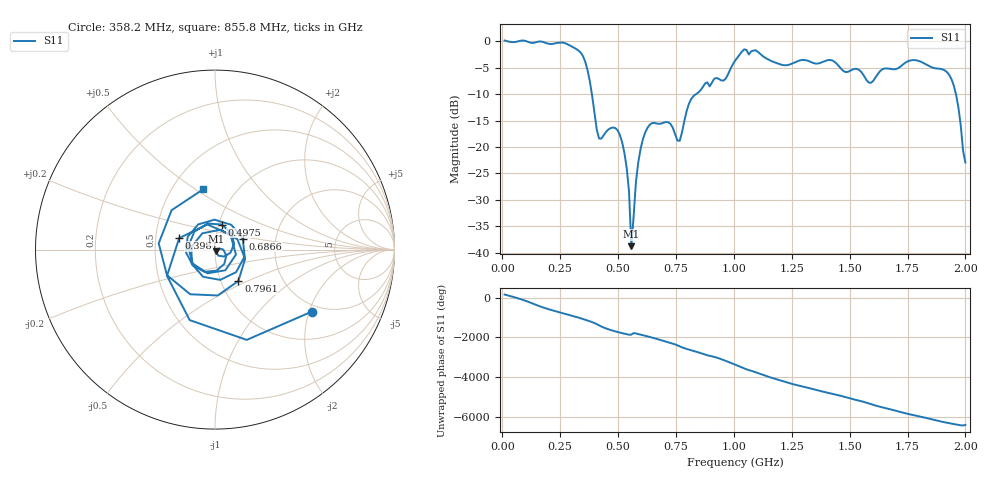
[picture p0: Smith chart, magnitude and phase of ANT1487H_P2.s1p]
!Created with skrf (http://scikit-rf.org).
# Hz S RI R 50.0
!freq ReS11 ImS11
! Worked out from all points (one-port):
!   201 points, 10 MHz to 2 GHz, reference 50 ohm
!   lowest |S11| = -38.8 dB at 557.2 MHz (marker M1), VSWR 1.02, Z = 50.6 - j0.975 ohm
!   |S11| at or under -10 dB: 386.9 MHz to 836.5 MHz (449.6 MHz wide, 73.5 % of centre); 1.959 GHz to end of sweep
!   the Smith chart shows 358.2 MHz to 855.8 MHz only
!   S11 on the Smith chart (normalised r, x): 358.2 MHz: 1.77, -2.08; 398.1 MHz: 0.66, +0.09; 497.6 MHz: 1.03, +0.29; 686.6 MHz: 1.35, +0.17; 796 MHz: 1.21, -0.44; 855.8 MHz: 0.71, +0.54
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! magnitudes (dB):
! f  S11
! 10 MHz  0.2
! 258.8 MHz  -0.2
! 358.2 MHz  -3.9
! 398.1 MHz  -13.6
! 417.9 MHz  -18.4
! 497.6 MHz  -16.8
! 507.5 MHz  -17.7
! 537.4 MHz  -24.0
! 547.3 MHz  -28.5
! 557.2 MHz  -38.8
! 577.1 MHz  -26.6
! 607 MHz  -18.6
! 636.9 MHz  -15.8
! 686.6 MHz  -15.6
! 726.4 MHz  -15.6
! 756.2 MHz  -18.8
! 796 MHz  -13.2
! 855.8 MHz  -9.3
! 955.2 MHz  -7.4
! 1.005 GHz  -3.7
! 1.045 GHz  -1.5
! 1.254 GHz  -4.2
! 1.502 GHz  -5.6
! 1.592 GHz  -7.9
! 1.751 GHz  -3.8
! 1.93 GHz  -6.4
! 1.96 GHz  -10.2
! 2 GHz  -22.9
